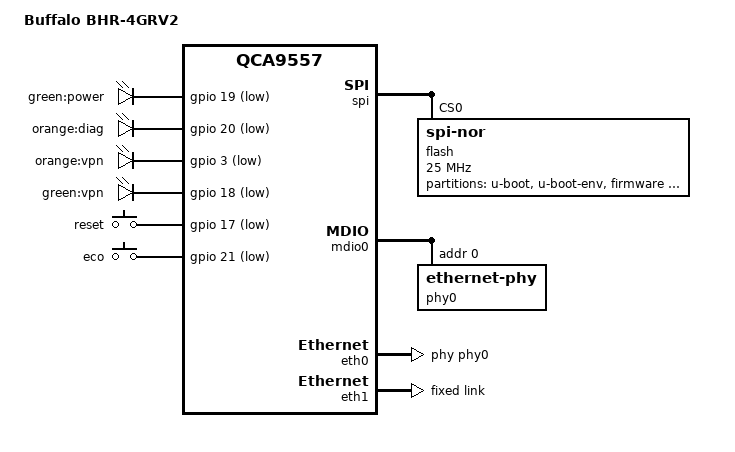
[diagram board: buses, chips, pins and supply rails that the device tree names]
// SPDX-License-Identifier: GPL-2.0-or-later OR MIT

#include "qca955x.dtsi"

#include <dt-bindings/gpio/gpio.h>
#include <dt-bindings/input/input.h>

/ {
	compatible = "buffalo,bhr-4grv2", "qca,qca9557";
	model = "Buffalo BHR-4GRV2";

	aliases {
		led-boot = &led_power;
		led-failsafe = &led_power;
		led-running = &led_power;
		led-upgrade = &led_power;
	};

	leds {
		compatible = "gpio-leds";

		led_power: power {
			label = "green:power";
			gpios = <&gpio 19 GPIO_ACTIVE_LOW>;
			default-state = "on";
		};

		diag {
			label = "orange:diag";
			gpios = <&gpio 20 GPIO_ACTIVE_LOW>;
		};

		vpn_orange {
			label = "orange:vpn";
			gpios = <&gpio 3 GPIO_ACTIVE_LOW>;
		};

		vpn_green {
			label = "green:vpn";
			gpios = <&gpio 18 GPIO_ACTIVE_LOW>;
		};
	};

	keys {
		compatible = "gpio-keys";

		reset {
			label = "reset";
			gpios = <&gpio 17 GPIO_ACTIVE_LOW>;
			linux,code = <KEY_RESTART>;
			debounce-interval = <60>;
		};

		eco {
			label = "eco";
			gpios = <&gpio 21 GPIO_ACTIVE_LOW>;
			linux,code = <BTN_0>;
			linux,input-type = <EV_SW>;
			debounce-interval = <60>;
		};
	};
};

&spi {
	status = "okay";

	flash@0 {
		compatible = "jedec,spi-nor";
		reg = <0>;
		spi-max-frequency = <25000000>;

		partitions {
			compatible = "fixed-partitions";
			#address-cells = <1>;
			#size-cells = <1>;

			partition@0 {
				label = "u-boot";
				reg = <0x000000 0x040000>;
				read-only;
			};

			partition@40000 {
				label = "u-boot-env";
				reg = <0x040000 0x010000>;
			};

			partition@50000 {
				compatible = "denx,uimage";
				label = "firmware";
				reg = <0x050000 0xfa0000>;
			};

			art: partition@ff0000 {
				label = "art";
				reg = <0xff0000 0x010000>;
				read-only;
			};
		};
	};
};

&mdio0 {
	status = "okay";

	phy0: ethernet-phy@0 {
		reg = <0>;

		qca,ar8327-initvals = <
		    0x04 0x80080080 /* PORT0 PAD MODE CTRL */
		    0x0c 0x07600000 /* PORT6 PAD MODE CTRL */
		    0x7c 0x0000007e /* PORT0_STATUS */
		    0x94 0x0000007e /* PORT6 STATUS */
		>;
	};
};

&eth0 {
	status = "okay";

	nvmem-cells = <&macaddr_art_0>;
	nvmem-cell-names = "mac-address";
	phy-handle = <&phy0>;
	pll-data = <0x56000000 0x00000101 0x00001616>;
};

&eth1 {
	status = "okay";

	nvmem-cells = <&macaddr_art_6>;
	nvmem-cell-names = "mac-address";
	pll-data = <0x03000101 0x00000101 0x00001616>;

	fixed-link {
		speed = <1000>;
		full-duplex;
	};
};

&art {
	compatible = "nvmem-cells";
	#address-cells = <1>;
	#size-cells = <1>;

	macaddr_art_0: macaddr@0 {
		reg = <0x0 0x6>;
	};

	macaddr_art_6: macaddr@6 {
		reg = <0x6 0x6>;
	};
};
